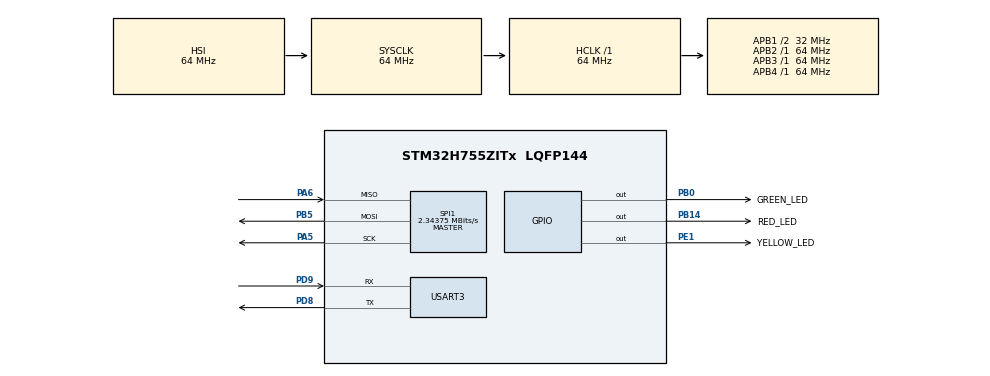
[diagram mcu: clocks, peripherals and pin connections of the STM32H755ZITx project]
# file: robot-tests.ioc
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CortexM4.IPs=CORTEX_M4\:I,DEBUG,FATFS_M4\:I,FREERTOS_M4\:I,IWDG2\:I,OPENAMP_M4\:I,PDM2PCM_M4\:I,PWR,RCC,RESMGR_UTILITY,SYS_M4\:I,USB_DEVICE_M4\:I,USB_HOST_M4\:I,VREFBUF,WWDG2\:I,GPIO,DMA,BDMA,MDMA,NVIC2\:I
CortexM7.IPs=CORTEX_M7\:I,DEBUG\:I,FATFS_M7\:I,FREERTOS_M7\:I,IWDG1\:I,OPENAMP_M7\:I,PDM2PCM_M7\:I,PWR\:I,RCC\:I,RESMGR_UTILITY\:I,SYS\:I,USB_DEVICE_M7\:I,USB_HOST_M7\:I,VREFBUF\:I,WWDG1\:I,GPIO\:I,DMA\:I,BDMA\:I,MDMA\:I,NVIC1\:I,SPI1\:I,USART3\:I
CortexM7.Pins=PB0,PB14,PE1
Mcu.Family=STM32H7
Mcu.Name=STM32H755ZITx
Mcu.Package=LQFP144
NVIC1.PriorityGroup=NVIC_PRIORITYGROUP_4
NVIC2.PriorityGroup=NVIC_PRIORITYGROUP_4
PA5.Mode=Full_Duplex_Master
PA5.PinAttribute=CortexM7
PA5.Signal=SPI1_SCK
PA6.Mode=Full_Duplex_Master
PA6.PinAttribute=CortexM7
PA6.Signal=SPI1_MISO
PB0.GPIO_Label=GREEN_LED
PB0.PinAttribute=CortexM7
PB0.PinState=GPIO_PIN_RESET
PB0.Signal=GPIO_Output
PB14.GPIO_Label=RED_LED
PB14.PinAttribute=CortexM7
PB14.PinState=GPIO_PIN_SET
PB14.Signal=GPIO_Output
PB5.Mode=Full_Duplex_Master
PB5.PinAttribute=CortexM7
PB5.Signal=SPI1_MOSI
PD8.Mode=Asynchronous
PD8.PinAttribute=CortexM7
PD8.Signal=USART3_TX
PD9.Mode=Asynchronous
PD9.PinAttribute=CortexM7
PD9.Signal=USART3_RX
PE1.GPIO_Label=YELLOW_LED
PE1.PinAttribute=CortexM7
PE1.PinState=GPIO_PIN_SET
PE1.Signal=GPIO_Output
ProjectManager.HeapSize=M4-0x200,M7-0x200
ProjectManager.StackSize=M4-0x400,M7-0x400
ProjectManager.TargetToolchain=Makefile
RCC.ADCFreq_Value=129000000
RCC.APB1Freq_Value=32000000
RCC.APB2Freq_Value=64000000
RCC.APB3Freq_Value=64000000
RCC.APB4Freq_Value=64000000
RCC.CortexFreq_Value=64000000
RCC.D2PPRE1=RCC_APB1_DIV2
RCC.DIVM1=4
RCC.DIVN1=9
RCC.HCLKFreq_Value=64000000
RCC.PLLFRACN=3072
RCC.SYSCLKFreq_VALUE=64000000
RCC.USBFreq_Value=75000000
SPI1.BaudRatePrescaler=SPI_BAUDRATEPRESCALER_32
SPI1.CalculateBaudRate=2.34375 MBits/s
SPI1.DataSize=SPI_DATASIZE_8BIT
SPI1.Direction=SPI_DIRECTION_2LINES
SPI1.Mode=SPI_MODE_MASTER
SPI1.VirtualType=VM_MASTER
SYS.userName=SYS_M7
USART3.VirtualMode-Asynchronous=VM_ASYNC
VP_SYS_M4_VS_Systick.Mode=SysTick
board=custom

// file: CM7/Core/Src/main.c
/* USER CODE BEGIN Header */
/**
  ******************************************************************************
  * @file           : main.c
  * @brief          : Main program body
  ******************************************************************************
  * @attention
  *
  * Copyright (c) 2024 STMicroelectronics.
  * All rights reserved.
  *
  * This software is licensed under terms that can be found in the LICENSE file
  * in the root directory of this software component.
  * If no LICENSE file comes with this software, it is provided AS-IS.
  *
  ******************************************************************************
  */
/* USER CODE END Header */
#include "main.h"

/* USER CODE BEGIN PD */

#ifndef HSEM_ID_0
#define HSEM_ID_0 (0U) /* HW semaphore 0*/
#endif

#define PUTCHAR_PROTOTYPE int __io_putchar(int ch)

/* USER CODE END PD */

SPI_HandleTypeDef hspi1;

UART_HandleTypeDef huart3;

void SystemClock_Config(void);
static void MX_GPIO_Init(void);
static void MX_SPI1_Init(void);
static void MX_USART3_UART_Init(void);

/* USER CODE BEGIN 0 */
// Printf redirect to UART
PUTCHAR_PROTOTYPE
{
  HAL_UART_Transmit(&huart3, (uint8_t *)&ch, 1, HAL_MAX_DELAY);
  return ch;
}

int _write(int fd, char *ch, int len)
{
  HAL_UART_Transmit(&huart3, (uint8_t *)ch, len, HAL_MAX_DELAY);
  return len;
}
// -----------------------
/* USER CODE END 0 */

int main(void)
{
/* USER CODE BEGIN Boot_Mode_Sequence_0 */
  int32_t timeout;
/* USER CODE END Boot_Mode_Sequence_0 */

/* USER CODE BEGIN Boot_Mode_Sequence_1 */
  /* Wait until CPU2 boots and enters in stop mode or timeout*/
  /*timeout = 0xFFFF;
  while((__HAL_RCC_GET_FLAG(RCC_FLAG_D2CKRDY) != RESET) && (timeout-- > 0));
  if ( timeout < 0 )
  {
  Error_Handler();
  }*/
/* USER CODE END Boot_Mode_Sequence_1 */
  /* MCU Configuration--------------------------------------------------------*/

  /* Reset of all peripherals, Initializes the Flash interface and the Systick. */
  HAL_Init();

  /* Configure the system clock */
  SystemClock_Config();
/* USER CODE BEGIN Boot_Mode_Sequence_2 */
/* When system initialization is finished, Cortex-M7 will release Cortex-M4 by means of
HSEM notification */
/*HW semaphore Clock enable*/
__HAL_RCC_HSEM_CLK_ENABLE();
/*Take HSEM */
HAL_HSEM_FastTake(HSEM_ID_0);
/*Release HSEM in order to notify the CPU2(CM4)*/
HAL_HSEM_Release(HSEM_ID_0,0);
/* wait until CPU2 wakes up from stop mode */
timeout = 0xFFFF;
/*while((__HAL_RCC_GET_FLAG(RCC_FLAG_D2CKRDY) == RESET) && (timeout-- > 0));
if ( timeout < 0 )
{
Error_Handler();
}*/
/* USER CODE END Boot_Mode_Sequence_2 */

  /* Initialize all configured peripherals */
  MX_GPIO_Init();
  MX_SPI1_Init();
  MX_USART3_UART_Init();
  /* USER CODE BEGIN 2 */
  HAL_GPIO_WritePin(GPIOB, GREEN_LED_Pin, GPIO_PIN_SET);
  HAL_GPIO_WritePin(GPIOE, YELLOW_LED_Pin, GPIO_PIN_RESET);
  HAL_GPIO_WritePin(SPI1_CS_GPIO_Port, SPI1_CS_Pin, GPIO_PIN_SET);
  printf("Initialized...\r\n");
  /* USER CODE END 2 */

  /* Infinite loop */
  /* USER CODE BEGIN WHILE */
  uint8_t tx[2] = {0x00, 0x00};
  while (1)
  {
    HAL_Delay(1000);
    tx[1] += 1;
    uint8_t rx[2] = {0x00, 0x00};
    HAL_GPIO_WritePin(SPI1_CS_GPIO_Port, SPI1_CS_Pin, GPIO_PIN_RESET);
    if (HAL_SPI_TransmitReceive(&hspi1, tx, rx, 2, 50000000) != HAL_OK) {
      Error_Handler();
    }
    HAL_GPIO_WritePin(SPI1_CS_GPIO_Port, SPI1_CS_Pin, GPIO_PIN_SET);
    printf("Sent: 0x%02x 0x%02x\r\n", tx[0], tx[1]);
    printf("Read: 0x%02x 0x%02x\r\n\r\n", rx[0], rx[1]);
    /* USER CODE END WHILE */

  }
}

void SystemClock_Config(void)
{
  RCC_OscInitTypeDef RCC_OscInitStruct = {0};
  RCC_ClkInitTypeDef RCC_ClkInitStruct = {0};

  /** Supply configuration update enable
  */
  HAL_PWREx_ConfigSupply(PWR_DIRECT_SMPS_SUPPLY);

  /** Configure the main internal regulator output voltage
  */
  __HAL_PWR_VOLTAGESCALING_CONFIG(PWR_REGULATOR_VOLTAGE_SCALE3);

  while(!__HAL_PWR_GET_FLAG(PWR_FLAG_VOSRDY)) {}

  /** Initializes the RCC Oscillators according to the specified parameters
  * in the RCC_OscInitTypeDef structure.
  */
  RCC_OscInitStruct.OscillatorType = RCC_OSCILLATORTYPE_HSI;
  RCC_OscInitStruct.HSIState = RCC_HSI_DIV1;
  RCC_OscInitStruct.HSICalibrationValue = RCC_HSICALIBRATION_DEFAULT;
  RCC_OscInitStruct.PLL.PLLState = RCC_PLL_ON;
  RCC_OscInitStruct.PLL.PLLSource = RCC_PLLSOURCE_HSI;
  RCC_OscInitStruct.PLL.PLLM = 4;
  RCC_OscInitStruct.PLL.PLLN = 9;
  RCC_OscInitStruct.PLL.PLLP = 2;
  RCC_OscInitStruct.PLL.PLLQ = 2;
  RCC_OscInitStruct.PLL.PLLR = 2;
  RCC_OscInitStruct.PLL.PLLRGE = RCC_PLL1VCIRANGE_3;
  RCC_OscInitStruct.PLL.PLLVCOSEL = RCC_PLL1VCOMEDIUM;
  RCC_OscInitStruct.PLL.PLLFRACN = 3072;
  if (HAL_RCC_OscConfig(&RCC_OscInitStruct) != HAL_OK)
  {
    Error_Handler();
  }

  /** Initializes the CPU, AHB and APB buses clocks
  */
  RCC_ClkInitStruct.ClockType = RCC_CLOCKTYPE_HCLK|RCC_CLOCKTYPE_SYSCLK
                              |RCC_CLOCKTYPE_PCLK1|RCC_CLOCKTYPE_PCLK2
                              |RCC_CLOCKTYPE_D3PCLK1|RCC_CLOCKTYPE_D1PCLK1;
  RCC_ClkInitStruct.SYSCLKSource = RCC_SYSCLKSOURCE_HSI;
  RCC_ClkInitStruct.SYSCLKDivider = RCC_SYSCLK_DIV1;
  RCC_ClkInitStruct.AHBCLKDivider = RCC_HCLK_DIV1;
  RCC_ClkInitStruct.APB3CLKDivider = RCC_APB3_DIV1;
  RCC_ClkInitStruct.APB1CLKDivider = RCC_APB1_DIV2;
  RCC_ClkInitStruct.APB2CLKDivider = RCC_APB2_DIV1;
  RCC_ClkInitStruct.APB4CLKDivider = RCC_APB4_DIV1;

  if (HAL_RCC_ClockConfig(&RCC_ClkInitStruct, FLASH_LATENCY_1) != HAL_OK)
  {
    Error_Handler();
  }
}

static void MX_SPI1_Init(void)
{

  /* SPI1 parameter configuration*/
  hspi1.Instance = SPI1;
  hspi1.Init.Mode = SPI_MODE_MASTER;
  hspi1.Init.Direction = SPI_DIRECTION_2LINES;
  hspi1.Init.DataSize = SPI_DATASIZE_8BIT;
  hspi1.Init.CLKPolarity = SPI_POLARITY_LOW;
  hspi1.Init.CLKPhase = SPI_PHASE_1EDGE;
  hspi1.Init.NSS = SPI_NSS_SOFT;
  hspi1.Init.BaudRatePrescaler = SPI_BAUDRATEPRESCALER_32;
  hspi1.Init.FirstBit = SPI_FIRSTBIT_MSB;
  hspi1.Init.TIMode = SPI_TIMODE_DISABLE;
  hspi1.Init.CRCCalculation = SPI_CRCCALCULATION_DISABLE;
  hspi1.Init.CRCPolynomial = 0x0;
  hspi1.Init.NSSPMode = SPI_NSS_PULSE_ENABLE;
  hspi1.Init.NSSPolarity = SPI_NSS_POLARITY_LOW;
  hspi1.Init.FifoThreshold = SPI_FIFO_THRESHOLD_01DATA;
  hspi1.Init.TxCRCInitializationPattern = SPI_CRC_INITIALIZATION_ALL_ZERO_PATTERN;
  hspi1.Init.RxCRCInitializationPattern = SPI_CRC_INITIALIZATION_ALL_ZERO_PATTERN;
  hspi1.Init.MasterSSIdleness = SPI_MASTER_SS_IDLENESS_00CYCLE;
  hspi1.Init.MasterInterDataIdleness = SPI_MASTER_INTERDATA_IDLENESS_00CYCLE;
  hspi1.Init.MasterReceiverAutoSusp = SPI_MASTER_RX_AUTOSUSP_DISABLE;
  hspi1.Init.MasterKeepIOState = SPI_MASTER_KEEP_IO_STATE_DISABLE;
  hspi1.Init.IOSwap = SPI_IO_SWAP_DISABLE;
  if (HAL_SPI_Init(&hspi1) != HAL_OK)
  {
    Error_Handler();
  }

}

static void MX_USART3_UART_Init(void)
{

  huart3.Instance = USART3;
  huart3.Init.BaudRate = 115200;
  huart3.Init.WordLength = UART_WORDLENGTH_8B;
  huart3.Init.StopBits = UART_STOPBITS_1;
  huart3.Init.Parity = UART_PARITY_NONE;
  huart3.Init.Mode = UART_MODE_TX_RX;
  huart3.Init.HwFlowCtl = UART_HWCONTROL_NONE;
  huart3.Init.OverSampling = UART_OVERSAMPLING_16;
  huart3.Init.OneBitSampling = UART_ONE_BIT_SAMPLE_DISABLE;
  huart3.Init.ClockPrescaler = UART_PRESCALER_DIV1;
  huart3.AdvancedInit.AdvFeatureInit = UART_ADVFEATURE_NO_INIT;
  if (HAL_UART_Init(&huart3) != HAL_OK)
  {
    Error_Handler();
  }
  if (HAL_UARTEx_SetTxFifoThreshold(&huart3, UART_TXFIFO_THRESHOLD_1_8) != HAL_OK)
  {
    Error_Handler();
  }
  if (HAL_UARTEx_SetRxFifoThreshold(&huart3, UART_RXFIFO_THRESHOLD_1_8) != HAL_OK)
  {
    Error_Handler();
  }
  if (HAL_UARTEx_DisableFifoMode(&huart3) != HAL_OK)
  {
    Error_Handler();
  }

}

static void MX_GPIO_Init(void)
{
  GPIO_InitTypeDef GPIO_InitStruct = {0};

  /* GPIO Ports Clock Enable */
  __HAL_RCC_GPIOA_CLK_ENABLE();
  __HAL_RCC_GPIOB_CLK_ENABLE();
  __HAL_RCC_GPIOD_CLK_ENABLE();
  __HAL_RCC_GPIOE_CLK_ENABLE();

  /*Configure GPIO pin Output Level */
  HAL_GPIO_WritePin(GREEN_LED_GPIO_Port, GREEN_LED_Pin, GPIO_PIN_RESET);

  /*Configure GPIO pin Output Level */
  HAL_GPIO_WritePin(RED_LED_GPIO_Port, RED_LED_Pin, GPIO_PIN_SET);

  /*Configure GPIO pin Output Level */
  HAL_GPIO_WritePin(YELLOW_LED_GPIO_Port, YELLOW_LED_Pin, GPIO_PIN_SET);

  /*Configure GPIO pins : GREEN_LED_Pin RED_LED_Pin */
  GPIO_InitStruct.Pin = GREEN_LED_Pin|RED_LED_Pin;
  GPIO_InitStruct.Mode = GPIO_MODE_OUTPUT_PP;
  GPIO_InitStruct.Pull = GPIO_NOPULL;
  GPIO_InitStruct.Speed = GPIO_SPEED_FREQ_LOW;
  HAL_GPIO_Init(GPIOB, &GPIO_InitStruct);

  /*Configure GPIO pin : YELLOW_LED_Pin */
  GPIO_InitStruct.Pin = YELLOW_LED_Pin;
  GPIO_InitStruct.Mode = GPIO_MODE_OUTPUT_PP;
  GPIO_InitStruct.Pull = GPIO_NOPULL;
  GPIO_InitStruct.Speed = GPIO_SPEED_FREQ_LOW;
  HAL_GPIO_Init(YELLOW_LED_GPIO_Port, &GPIO_InitStruct);

}

void Error_Handler(void)
{
  /* USER CODE BEGIN Error_Handler_Debug */
  HAL_GPIO_WritePin(GPIOB, RED_LED_Pin, GPIO_PIN_SET);
  /* User can add his own implementation to report the HAL error return state */
  __disable_irq();
  while (1)
  {
  }
  /* USER CODE END Error_Handler_Debug */
}
